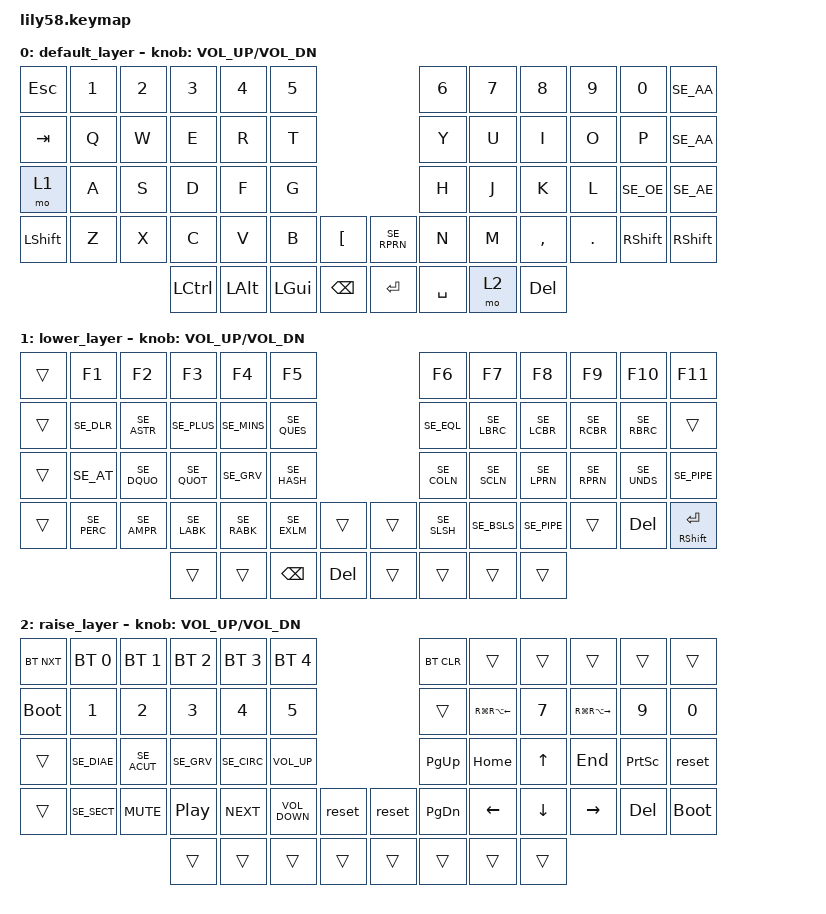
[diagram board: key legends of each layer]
/*
 * Copyright (c) 2020 The ZMK Contributors
 *
 * SPDX-License-Identifier: MIT
 * #include <dt-bindings/zmk/keys.h>
 */

#include <behaviors.dtsi>


#include "se_keys_ios.h"
#include <dt-bindings/zmk/bt.h>
#include <dt-bindings/zmk/ext_power.h>

/ {
	keymap {
		compatible = "zmk,keymap";

		default_layer {
// ------------------------------------------------------------------------------------------------------------
// |  ESC  |  1  |  2  |  3   |  4   |  5   |                   |  6   |  7    |  8    |  9   |   0   |   `   |
// |  TAB  |  Q  |  W  |  E   |  R   |  T   |                   |  Y   |  U    |  I    |  O   |   P   |   -   |
// |  CTRL |  A  |  S  |  D   |  F   |  G   |                   |  H   |  J    |  K    |  L   |   Ö   |   '   |
// | SHIFT |  Z  |  X  |  C   |  V   |  B   |   "["  |  |  "]"  |  N   |  M    |  ,    |  .   |   /   | SHIFT |
//                     | ALT  | GUI  | LOWER|  SPACE |  | ENTER | RAISE| BSPC  | GUI   |
			bindings = <
&kp ESC   &kp N1 &kp N2 &kp N3   &kp N4   &kp N5                        &kp N6 &kp N7   &kp N8    &kp N9  &kp N0   &kp SE_AA
&kp TAB   &kp Q  &kp W  &kp E    &kp R    &kp T                         &kp Y  &kp U    &kp I     &kp O   &kp P    &kp SE_AA
&mo 1     &kp A  &kp S  &kp D    &kp F    &kp G                         &kp H  &kp J    &kp K     &kp L   &kp SE_OE &kp SE_AE
&kp LSHFT &kp Z  &kp X  &kp C    &kp V    &kp B  &kp LBKT   &kp SE_RPRN &kp N  &kp M    &kp COMMA &kp DOT &kp RSHFT &kp RSHFT
                        &kp LCTRL &kp LALT &kp LGUI  &kp BSPC   &kp RET &kp SPACE &mo 2   &kp DEL
			>;

			sensor-bindings = <&inc_dec_kp C_VOL_UP C_VOL_DN>;
		};

		lower_layer {
// ------------------------------------------------------------------------------------------------------------
// | BTCLR | BT1 | BT2 |  BT3 |  BT4 |  BT5 |                   |      |       |       |      |       |       |
// |  F1   |  F2 |  F3 |  F4  |  F5  |  F6  |                   |  F7  |  F8   |  F9   |  F10 |  F11  |  F12  |
// |   `   |  !  |  @  |  #   |  $   |  %   |                   |  ^   |  &    |  *    |  (   |   )   |   ~   |
// |       |     |     |      |      |      |        |  |       |      |  _    |  +    |  {   |   }   |  "|"  |
//                     |      |      |      |        |  |       |      |       |       |
			bindings = <
&trans     &kp F1           &kp F2            &kp F3            &kp F4         &kp F5                                    &kp F6            &kp F7          &kp F8           &kp F9          &kp F10         &kp F11
&trans     &kp SE_DLR       &kp SE_ASTR       &kp SE_PLUS       &kp SE_MINS    &kp SE_QUES                               &kp SE_EQL        &kp SE_LBRC     &kp SE_LCBR      &kp SE_RCBR     &kp SE_RBRC     &trans
&trans     &kp SE_AT        &kp SE_DQUO       &kp SE_QUOT       &kp SE_GRV     &kp SE_HASH                               &kp SE_COLN       &kp SE_SCLN     &kp SE_LPRN      &kp SE_RPRN     &kp SE_UNDS     &kp SE_PIPE
&trans     &kp SE_PERC      &kp SE_AMPR       &kp SE_LABK       &kp SE_RABK    &kp SE_EXLM       &trans    &trans        &kp SE_SLSH       &kp SE_BSLS     &kp SE_PIPE      &trans          &kp DEL         &mt RSHFT RET
                                     &trans    &trans     &kp BSPC    &kp DEL   &trans    &trans    &trans    &trans
			>;

			sensor-bindings = <&inc_dec_kp C_VOL_UP C_VOL_DN>;
		};

		raise_layer {
// ------------------------------------------------------------------------------------------------------------
// |       |     |     |      |      |      |                   |      |       |       |      |       |       |
// |   `   |  1  |  2  |  3   |  4   |  5   |                   |  6   |   7   |   8   |  9   |   0   |       |
// |   F1  |  F2 |  F3 |  F4  |  F5  |  F6  |                   |      |   <-  |   ^   |  v   |  ->   |       |
// |   F7  |  F8 |  F9 |  F10 |  F11 |  F12 |        |  |       |  +   |   -   |   =   |  [   |   ]   |   \   |
//                     |      |      |      |        |  |       |      |       |       |
			bindings = <
&bt BT_NXT &bt BT_SEL 0     &bt BT_SEL 1      &bt BT_SEL 2      &bt BT_SEL 3 &bt BT_SEL 4                                    &bt BT_CLR   &trans                  &trans          &trans                     &trans    &trans
&bootloader &kp N1 &kp N2 &kp N3  &kp N4  &kp N5                                                                               &trans       &kp RG(RA(LEFT_ARROW))  &kp N7          &kp RG(RA(RIGHT_ARROW))    &kp N9   &kp N0
&trans &kp SE_DIAE   &kp SE_ACUT     &kp SE_GRV          &kp SE_CIRC     &kp K_VOLUME_UP                                     &kp PG_UP    &kp HOME                &kp UP_ARROW    &kp END                    &kp PRINTSCREEN    &reset
&trans  &kp SE_SECT   &kp C_MUTE      &kp C_PLAY_PAUSE    &kp C_NEXT      &kp C_VOLUME_DOWN          &reset    &reset   &kp PG_DN    &kp LEFT_ARROW          &kp DOWN_ARROW  &kp RIGHT_ARROW            &kp DEL            &bootloader
                        &trans  &trans  &trans    &trans   &trans    &trans      &trans    &trans
			>;

			sensor-bindings = <&inc_dec_kp C_VOL_UP C_VOL_DN>;
		};
	};
};

/* &trans     &ext_power EP_ON &ext_power EP_OFF &ext_power EP_TOG &trans       &trans    &trans   &trans    &trans    &kp MINUS &kp KP_PLUS     &kp LBRC  &kp RBRC  &kp PIPE*/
